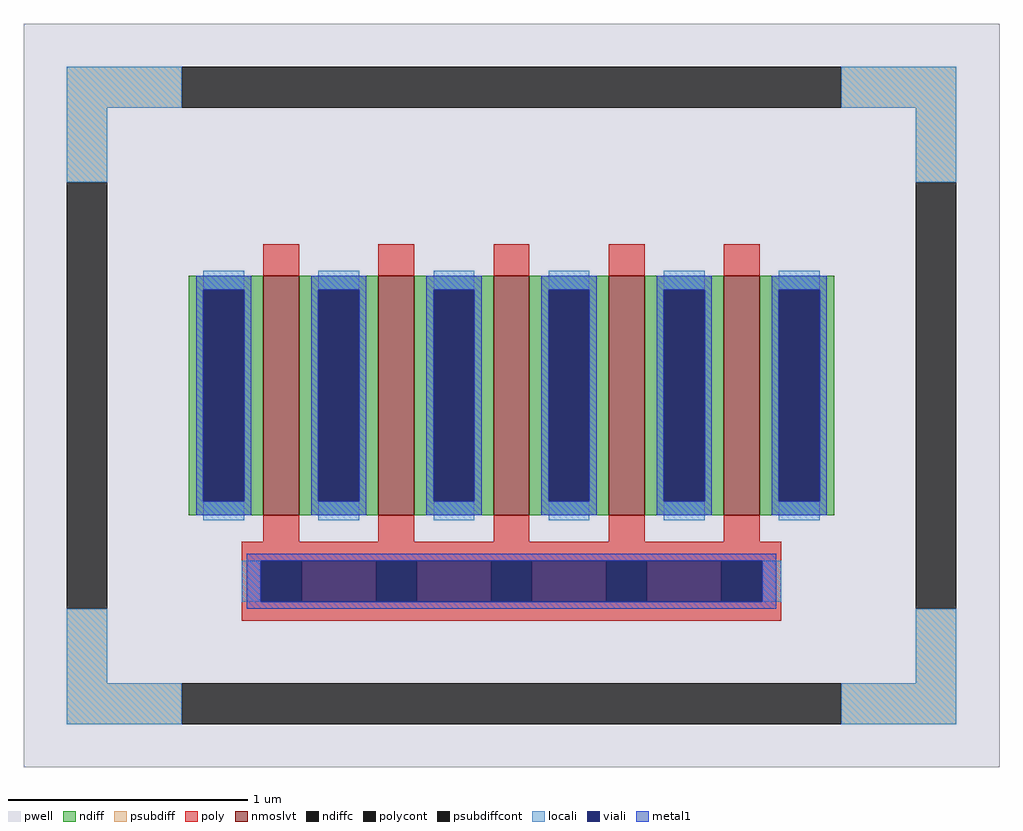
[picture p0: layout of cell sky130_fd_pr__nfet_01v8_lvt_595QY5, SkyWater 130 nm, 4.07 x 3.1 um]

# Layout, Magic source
magic
tech sky130A
magscale 1 2
<< pwell >>
rect -407 -310 407 310
<< nmoslvt >>
rect -207 -100 -177 100
rect -111 -100 -81 100
rect -15 -100 15 100
rect 81 -100 111 100
rect 177 -100 207 100
<< ndiff >>
rect -269 88 -207 100
rect -269 -88 -257 88
rect -223 -88 -207 88
rect -269 -100 -207 -88
rect -177 88 -111 100
rect -177 -88 -161 88
rect -127 -88 -111 88
rect -177 -100 -111 -88
rect -81 88 -15 100
rect -81 -88 -65 88
rect -31 -88 -15 88
rect -81 -100 -15 -88
rect 15 88 81 100
rect 15 -88 31 88
rect 65 -88 81 88
rect 15 -100 81 -88
rect 111 88 177 100
rect 111 -88 127 88
rect 161 -88 177 88
rect 111 -100 177 -88
rect 207 88 269 100
rect 207 -88 223 88
rect 257 -88 269 88
rect 207 -100 269 -88
<< ndiffc >>
rect -257 -88 -223 88
rect -161 -88 -127 88
rect -65 -88 -31 88
rect 31 -88 65 88
rect 127 -88 161 88
rect 223 -88 257 88
<< psubdiff >>
rect -371 240 -275 274
rect 275 240 371 274
rect -371 178 -337 240
rect 337 178 371 240
rect -371 -240 -337 -178
rect 337 -240 371 -178
rect -371 -274 -275 -240
rect 275 -274 371 -240
<< psubdiffcont >>
rect -275 240 275 274
rect -371 -178 -337 178
rect 337 -178 371 178
rect -275 -274 275 -240
<< poly >>
rect -207 100 -177 126
rect -111 100 -81 126
rect -15 100 15 126
rect 81 100 111 126
rect 177 100 207 126
rect -207 -122 -177 -100
rect -111 -122 -81 -100
rect -15 -122 15 -100
rect 81 -122 111 -100
rect 177 -122 207 -100
rect -225 -138 225 -122
rect -225 -172 -209 -138
rect -175 -172 -113 -138
rect -79 -172 -17 -138
rect 17 -172 79 -138
rect 113 -172 175 -138
rect 209 -172 225 -138
rect -225 -188 225 -172
<< polycont >>
rect -209 -172 -175 -138
rect -113 -172 -79 -138
rect -17 -172 17 -138
rect 79 -172 113 -138
rect 175 -172 209 -138
<< locali >>
rect -371 240 -275 274
rect 275 240 371 274
rect -371 178 -337 240
rect 337 178 371 240
rect -257 88 -223 104
rect -257 -104 -223 -88
rect -161 88 -127 104
rect -161 -104 -127 -88
rect -65 88 -31 104
rect -65 -104 -31 -88
rect 31 88 65 104
rect 31 -104 65 -88
rect 127 88 161 104
rect 127 -104 161 -88
rect 223 88 257 104
rect 223 -104 257 -88
rect -225 -172 -209 -138
rect 209 -172 225 -138
rect -371 -240 -337 -178
rect 337 -240 371 -178
rect -371 -274 -275 -240
rect 275 -274 371 -240
<< viali >>
rect -257 -88 -223 88
rect -161 -88 -127 88
rect -65 -88 -31 88
rect 31 -88 65 88
rect 127 -88 161 88
rect 223 -88 257 88
rect -209 -172 -175 -138
rect -175 -172 -113 -138
rect -113 -172 -79 -138
rect -79 -172 -17 -138
rect -17 -172 17 -138
rect 17 -172 79 -138
rect 79 -172 113 -138
rect 113 -172 175 -138
rect 175 -172 209 -138
<< metal1 >>
rect -263 88 -217 100
rect -263 -88 -257 88
rect -223 -88 -217 88
rect -263 -100 -217 -88
rect -167 88 -121 100
rect -167 -88 -161 88
rect -127 -88 -121 88
rect -167 -100 -121 -88
rect -71 88 -25 100
rect -71 -88 -65 88
rect -31 -88 -25 88
rect -71 -100 -25 -88
rect 25 88 71 100
rect 25 -88 31 88
rect 65 -88 71 88
rect 25 -100 71 -88
rect 121 88 167 100
rect 121 -88 127 88
rect 161 -88 167 88
rect 121 -100 167 -88
rect 217 88 263 100
rect 217 -88 223 88
rect 257 -88 263 88
rect 217 -100 263 -88
rect -221 -138 221 -132
rect -221 -172 -209 -138
rect 209 -172 221 -138
rect -221 -178 221 -172
<< properties >>
string gencell sky130_fd_pr__nfet_01v8_lvt
string FIXED_BBOX -354 -257 354 257
string parameters w 1 l 0.150 m 1 nf 5 diffcov 100 polycov 100 guard 1 glc 1 grc 1 gtc 1 gbc 1 tbcov 100 rlcov 100 topc 1 botc 1 poverlap 0 doverlap 1 lmin 0.15 wmin 0.42 compatible {sky130_fd_pr__nfet_01v8 sky130_fd_pr__nfet_01v8_lvt  sky130_fd_bs_flash__special_sonosfet_star  sky130_fd_pr__nfet_g5v0d10v5 sky130_fd_pr__nfet_05v0_nvt  sky130_fd_pr__nfet_03v3_nvt} full_metal 1 viasrc 100 viadrn 100 viagate 100 viagb 0 viagr 0 viagl 0 viagt 0
string library sky130
<< end >>
